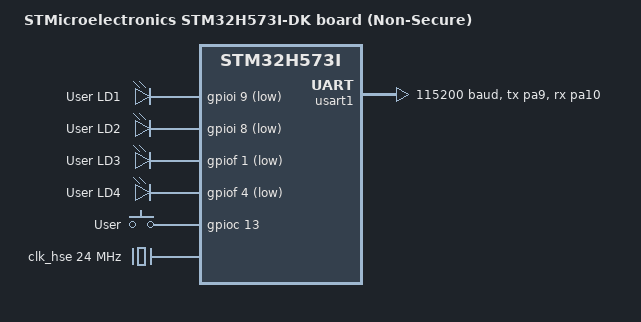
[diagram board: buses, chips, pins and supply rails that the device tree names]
/dts-v1/;
#include <st/h5/stm32h573Xi.dtsi>
#include <st/h5/stm32h573iikxq-pinctrl.dtsi>
#include "arduino_r3_connector.dtsi"

/ {
    model = "STMicroelectronics STM32H573I-DK board (Non-Secure)";
    compatible = "st,stm32h573i-dk";

    chosen {
        zephyr,console = &usart1;
        zephyr,shell-uart = &usart1;
        zephyr,sram = &sram1;
        zephyr,flash = &flash0;
        zephyr,code-partition = &slot0_ns_partition;
    };

    leds {
        compatible = "gpio-leds";
        green_led_1: led_1 {
            gpios = <&gpioi 9 GPIO_ACTIVE_LOW>;
            label = "User LD1";
        };
        orange_led_2: led_2 {
            gpios = <&gpioi 8 GPIO_ACTIVE_LOW>;
            label = "User LD2";
        };
        red_led_3: led_3 {
            gpios = <&gpiof 1 GPIO_ACTIVE_LOW>;
            label = "User LD3";
        };
        blue_led_4: led_4 {
            gpios = <&gpiof 4 GPIO_ACTIVE_LOW>;
            label = "User LD4";
        };
    };

    gpio_keys {
        compatible = "gpio-keys";
        user_button: button {
            label = "User";
            gpios = <&gpioc 13 GPIO_ACTIVE_HIGH>;
        };
    };

    aliases {
        led0 = &green_led_1;
        led1 = &orange_led_2;
        led2 = &red_led_3;
        led3 = &blue_led_4;
        sw0 = &user_button;
    };
};

&clk_hse {
    clock-frequency = <DT_FREQ_M(24)>;
    status = "okay";
};

&clk_hsi48 {
    status = "okay";
};

&clk_lse {
    status = "okay";
};

&pll {
    div-m = <12>;
    mul-n = <250>;
    div-p = <2>;
    div-q = <2>;
    div-r = <2>;
    clocks = <&clk_hse>;
    status = "okay";
};

&rcc {
    clocks = <&pll>;
    clock-frequency = <DT_FREQ_M(250)>;
    ahb-prescaler = <1>;
    apb1-prescaler = <2>;
    apb2-prescaler = <1>;
    apb3-prescaler = <1>;
};

&usart1 {
    pinctrl-0 = <&usart1_tx_pa9 &usart1_rx_pa10>;
    pinctrl-names = "default";
    current-speed = <115200>;
    status = "okay";
};

&flash0 {
    partitions {
        compatible = "fixed-partitions";
        #address-cells = <1>;
        #size-cells = <1>;

        /*
         * NOTE: This layout matches TF-M's flash_layout.h expectations
         * TF-M places scratch, BL2 metadata, and storage BEFORE images
         *
         * Layout (updated for larger NS partition - 512KB for HTTPS server):
         * 0x00000-0x38000: BL2 + metadata + storage (224 KB)
         * 0x38000-0x68000: TF-M Secure primary (192 KB)
         * 0x68000-0xE8000: Zephyr NS primary (512 KB)
         * 0xE8000-0x118000: TF-M Secure secondary (192 KB)
         * 0x118000-0x198000: Zephyr NS secondary (512 KB)
         */

        /* BL2 + metadata + storage (not directly accessible) */
        boot_partition: partition@0 {
            label = "mcuboot";
            reg = <0x00000000 DT_SIZE_K(224)>;  /* Covers all TF-M overhead */
            read-only;
        };

        /* Secure image primary slot - TF-M @ 0x38000 */
        slot0_partition: partition@38000 {
            label = "image-0";
            reg = <0x00038000 DT_SIZE_K(192)>;
        };

        /* Non-secure image primary slot - 512KB for HTTPS server */
        slot0_ns_partition: partition@68000 {
            label = "image-0-nonsecure";
            reg = <0x00068000 DT_SIZE_K(512)>;
        };

        /* Secure image secondary slot @ 0xE8000 */
        slot1_partition: partition@e8000 {
            label = "image-1";
            reg = <0x000e8000 DT_SIZE_K(192)>;
        };

        /* Non-secure image secondary slot - 512KB */
        slot1_ns_partition: partition@118000 {
            label = "image-1-nonsecure";
            reg = <0x00118000 DT_SIZE_K(512)>;
        };

        /* Storage partition */
        storage_partition: partition@198000 {
            label = "storage";
            reg = <0x00198000 DT_SIZE_K(32)>;
        };
    };
};
